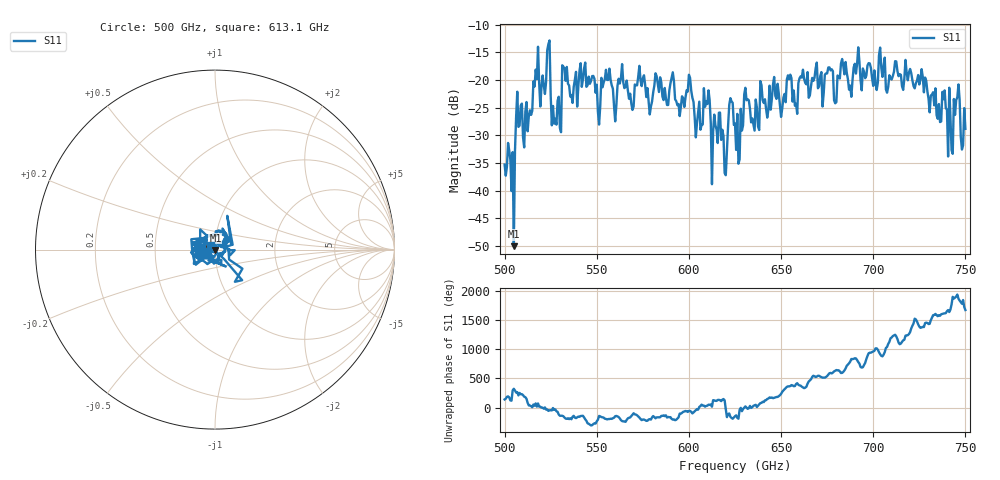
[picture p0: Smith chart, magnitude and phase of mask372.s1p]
!Created with skrf (http://scikit-rf.org).
# GHz S MA R 50.0
!freq magS11 angS11
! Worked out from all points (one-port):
!   401 points, 500 GHz to 750 GHz, reference 50 ohm
!   lowest |S11| = -50.0 dB at 505 GHz (marker M1), VSWR 1.01, Z = 50.3 - j0.192 ohm
!   |S11| at or under -10 dB: start of sweep to end of sweep
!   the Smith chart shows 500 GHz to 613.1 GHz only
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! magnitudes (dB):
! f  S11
! 500 GHz  -35.3
! 505 GHz  -50.0
! 507.5 GHz  -28.5
! 513.8 GHz  -25.5
! 516.9 GHz  -18.1
! 520.6 GHz  -19.2
! 523.8 GHz  -13.5
! 526.9 GHz  -27.9
! 531.2 GHz  -17.3
! 542.5 GHz  -19.8
! 550.6 GHz  -25.7
! 556.2 GHz  -20.0
! 560 GHz  -27.5
! 562.5 GHz  -20.6
! 590.6 GHz  -19.5
! 593.8 GHz  -24.6
! 609.4 GHz  -23.8
! 619.4 GHz  -36.8
! 622.5 GHz  -23.3
! 625 GHz  -27.8
! 656.2 GHz  -23.9
! 676.9 GHz  -18.3
! 680 GHz  -24.0
! 683.8 GHz  -17.4
! 687.5 GHz  -21.0
! 691.2 GHz  -17.1
! 718.8 GHz  -20.0
! 750 GHz  -28.8
